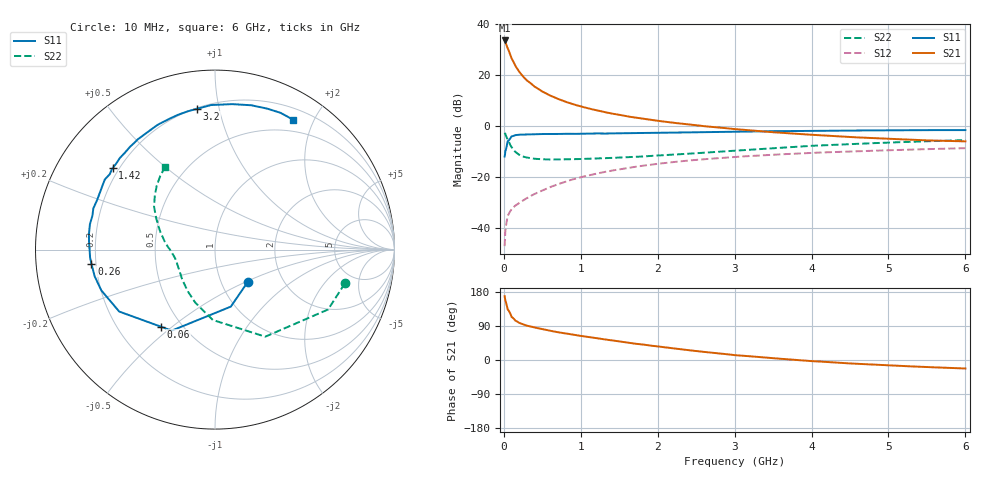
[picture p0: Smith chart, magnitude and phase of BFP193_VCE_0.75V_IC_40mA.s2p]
! Infineon Technologies  Discrete & RF Semiconductors
! BFP193
! VCE = 0.75V,  IC =  40 mA
! Common Emitter S-Parameters:  Jan 2016
# GHz  S  MA  R  50
!  f  S11  S21  S12  S22
! GHz  MAG  ANG  MAG  ANG  MAG  ANG  MAG  ANG
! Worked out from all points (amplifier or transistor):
!   210 points, 10 MHz to 6 GHz, reference 50 ohm
!   highest |S21| = 33.6 dB at 10 MHz (marker M1)
!   |S21| within 3 dB of that: start of sweep to 50.01 MHz
!   unconditionally stable (mu >= 1): 347.3 MHz to end of sweep
!   at 185 MHz: K = 0.77, MSG = 26.2 dB, |S12| = -30.3 dB
!   at 1.52 GHz: K = 1.17, MAG = 8.1 dB, |S12| = -16.7 dB
!   at 6 GHz: K = 1.05, MAG = 0.0 dB, |S12| = -8.5 dB
!   S11 on the Smith chart (normalised r, x): 10 MHz: 1.34, -0.51; 60 MHz: 0.39, -0.46; 260 MHz: 0.18, -0.05; 1.42 GHz: 0.18, +0.34; 3.2 GHz: 0.21, +0.86; 6 GHz: 0.34, +1.72
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0.01  0.256 -44.0  48.11 168.5  0.0045 73.6  0.7478 -14.6
0.02  0.3297 -74.5  44.9 156.9  0.009 69.1  0.713 -27.9
0.05  0.5117 -118.1  34.06 133.7  0.0176 56.5  0.5601 -60.0
0.06  0.5242 -124.9  31.34 131.0  0.0188 54.1  0.5164 -64.6
0.1  0.6355 -147.1  21.58 113.9  0.024 47.0  0.3923 -91.8
0.15  0.6728 -160.2  15.23 103.9  0.0281 47.7  0.3153 -110.4
0.2  0.6868 -167.5  11.72 97.9  0.0315 48.9  0.278 -122.9
0.26  0.6931 -173.5  9.125 93.1  0.0362 52.3  0.2537 -133.5
0.3  0.6973 -176.4  7.916 90.5  0.0393 54.3  0.2451 -138.7
0.4  0.7025 177.2  5.994 85.6  0.0474 57.2  0.232 -148.3
0.5  0.7077 173.0  4.812 81.4  0.0553 59.4  0.2267 -154.7
0.6  0.7111 168.6  4.02 77.2  0.0644 60.5  0.2244 -158.8
0.7  0.7086 164.6  3.465 73.3  0.0729 61.0  0.2249 -162.3
0.9  0.7122 157.9  2.706 66.9  0.0918 60.4  0.227 -167.5
1.02  0.7159 153.4  2.41 63.0  0.1024 59.7  0.23 -169.8
1.42  0.7289 141.4  1.764 51.4  0.1371 55.7  0.242 -176.2
2.02  0.7501 124.6  1.274 35.3  0.186 47.8  0.2692 174.9
3.1  0.7877 99.2  0.859 11.4  0.257 32.7  0.3407 157.5
3.2  0.7909 97.2  0.835 9.8  0.2622 31.3  0.3483 155.9
4.1  0.8176 81.8  0.67 -4.0  0.3065 19.9  0.4221 143.4
5.1  0.8384 68.6  0.564 -15.1  0.3437 8.5  0.4871 131.2
6  0.8446 58.9  0.508 -22.4  0.3737 -1.3  0.5381 121.0
